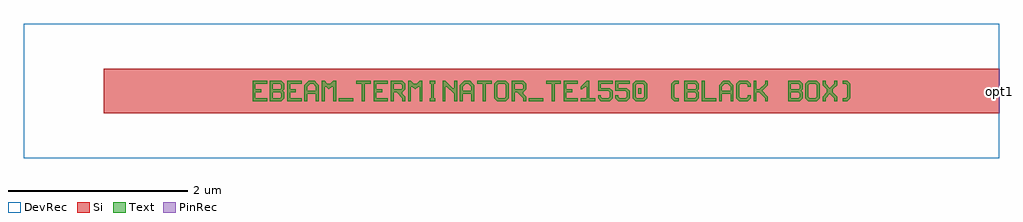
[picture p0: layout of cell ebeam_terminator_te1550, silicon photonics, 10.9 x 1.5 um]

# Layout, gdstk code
import gdstk
lib = gdstk.Library(unit=1e-6, precision=1e-09)
def R(c, l, rs):  # rectangles x0, y0, x1, y1
    for r in rs: c.add(gdstk.rectangle(r[:2], r[2:], *l))
def P(c, l, *ps):  # polygons
    for p in ps: c.add(gdstk.Polygon(p, *l))
Si = (1, 0)
PinRec = (1, 10)
Text = (10, 0)
DevRec = (68, 0)

text = lib.new_cell('TEXT')
R(text, Text, [(0.965,0,1.126,0.032), (3.088,0,3.249,0.032), (4.31,0.08,4.342,0.145)])
P(text, Text, [(0,0),(0,0.225),(0.161,0.225),(0.161,0.193),(0.032,0.193),(0.032,0.129),(0.096,0.129),(0.096,0.096),(0.032,0.096),(0.032,0.032),(0.161,0.032),(0.161,0)],
  [(0.193,0),(0.193,0.225),(0.322,0.225),(0.354,0.193),(0.225,0.193),(0.225,0.129),(0.306,0.129),(0.322,0.145),(0.322,0.177),(0.306,0.193),(0.354,0.193),(0.354,0.129),(0.338,0.113),(0.354,0.096),(0.225,0.096),(0.225,0.032),(0.306,0.032),(0.322,0.048),(0.322,0.08),(0.306,0.096),(0.354,0.096),(0.354,0.032),(0.322,0)],
  [(0.386,0),(0.386,0.225),(0.547,0.225),(0.547,0.193),(0.418,0.193),(0.418,0.129),(0.482,0.129),(0.482,0.096),(0.418,0.096),(0.418,0.032),(0.547,0.032),(0.547,0)],
  [(0.579,0),(0.579,0.177),(0.627,0.225),(0.692,0.225),(0.724,0.193),(0.643,0.193),(0.611,0.161),(0.611,0.113),(0.708,0.113),(0.708,0.161),(0.675,0.193),(0.724,0.193),(0.74,0.177),(0.74,0),(0.708,0),(0.708,0.08),(0.611,0.08),(0.611,0)],
  [(0.772,0),(0.772,0.225),(0.804,0.225),(0.836,0.193),(0.868,0.193),(0.901,0.225),(0.933,0.225),(0.933,0),(0.901,0),(0.901,0.161),(0.885,0.161),(0.852,0.129),(0.82,0.161),(0.804,0.161),(0.804,0)],
  [(1.222,0),(1.222,0.193),(1.158,0.193),(1.158,0.225),(1.319,0.225),(1.319,0.193),(1.254,0.193),(1.254,0)],
  [(1.351,0),(1.351,0.225),(1.512,0.225),(1.512,0.193),(1.383,0.193),(1.383,0.129),(1.447,0.129),(1.447,0.096),(1.383,0.096),(1.383,0.032),(1.512,0.032),(1.512,0)],
  [(1.544,0),(1.544,0.225),(1.673,0.225),(1.705,0.193),(1.576,0.193),(1.576,0.129),(1.657,0.129),(1.673,0.145),(1.673,0.177),(1.657,0.193),(1.705,0.193),(1.705,0.129),(1.673,0.096),(1.673,0.08),(1.705,0.048),(1.705,0),(1.673,0),(1.673,0.032),(1.608,0.096),(1.576,0.096),(1.576,0)],
  [(1.737,0),(1.737,0.225),(1.769,0.225),(1.801,0.193),(1.833,0.193),(1.866,0.225),(1.898,0.225),(1.898,0),(1.866,0),(1.866,0.161),(1.85,0.161),(1.817,0.129),(1.785,0.161),(1.769,0.161),(1.769,0)],
  [(1.978,0),(1.978,0.032),(1.994,0.032),(1.994,0.193),(1.978,0.193),(1.978,0.225),(2.043,0.225),(2.043,0.193),(2.026,0.193),(2.026,0.032),(2.043,0.032),(2.043,0)],
  [(2.123,0),(2.123,0.225),(2.155,0.225),(2.236,0.145),(2.252,0.145),(2.252,0.225),(2.284,0.225),(2.284,0),(2.252,0),(2.252,0.08),(2.171,0.161),(2.155,0.161),(2.155,0)],
  [(2.316,0),(2.316,0.177),(2.364,0.225),(2.429,0.225),(2.461,0.193),(2.38,0.193),(2.348,0.161),(2.348,0.113),(2.445,0.113),(2.445,0.161),(2.412,0.193),(2.461,0.193),(2.477,0.177),(2.477,0),(2.445,0),(2.445,0.08),(2.348,0.08),(2.348,0)],
  [(2.573,0),(2.573,0.193),(2.509,0.193),(2.509,0.225),(2.67,0.225),(2.67,0.193),(2.605,0.193),(2.605,0)],
  [(2.734,0),(2.702,0.032),(2.702,0.193),(2.734,0.225),(2.831,0.225),(2.863,0.193),(2.863,0.113),(2.831,0.113),(2.831,0.177),(2.815,0.193),(2.75,0.193),(2.734,0.177),(2.734,0.048),(2.75,0.032),(2.815,0.032),(2.831,0.048),(2.831,0.113),(2.863,0.113),(2.863,0.032),(2.831,0)],
  [(2.895,0),(2.895,0.225),(3.024,0.225),(3.056,0.193),(2.927,0.193),(2.927,0.129),(3.008,0.129),(3.024,0.145),(3.024,0.177),(3.008,0.193),(3.056,0.193),(3.056,0.129),(3.024,0.096),(3.024,0.08),(3.056,0.048),(3.056,0),(3.024,0),(3.024,0.032),(2.959,0.096),(2.927,0.096),(2.927,0)],
  [(3.345,0),(3.345,0.193),(3.281,0.193),(3.281,0.225),(3.442,0.225),(3.442,0.193),(3.377,0.193),(3.377,0)],
  [(3.474,0),(3.474,0.225),(3.635,0.225),(3.635,0.193),(3.506,0.193),(3.506,0.129),(3.57,0.129),(3.57,0.096),(3.506,0.096),(3.506,0.032),(3.635,0.032),(3.635,0)],
  [(3.667,0),(3.667,0.032),(3.731,0.032),(3.731,0.161),(3.715,0.161),(3.683,0.129),(3.667,0.129),(3.667,0.161),(3.731,0.225),(3.763,0.225),(3.763,0.032),(3.828,0.032),(3.828,0)],
  [(3.892,0),(3.86,0.032),(3.86,0.064),(3.892,0.064),(3.892,0.048),(3.908,0.032),(3.973,0.032),(3.989,0.048),(3.989,0.096),(3.973,0.113),(3.86,0.113),(3.86,0.225),(4.021,0.225),(4.021,0.193),(3.892,0.193),(3.892,0.145),(3.989,0.145),(4.021,0.113),(4.021,0.032),(3.989,0)],
  [(4.085,0),(4.053,0.032),(4.053,0.064),(4.085,0.064),(4.085,0.048),(4.101,0.032),(4.166,0.032),(4.182,0.048),(4.182,0.096),(4.166,0.113),(4.053,0.113),(4.053,0.225),(4.214,0.225),(4.214,0.193),(4.085,0.193),(4.085,0.145),(4.182,0.145),(4.214,0.113),(4.214,0.032),(4.182,0)],
  [(4.278,0),(4.246,0.032),(4.246,0.193),(4.278,0.225),(4.375,0.225),(4.407,0.193),(4.294,0.193),(4.278,0.177),(4.278,0.048),(4.294,0.032),(4.359,0.032),(4.375,0.048),(4.375,0.177),(4.359,0.193),(4.407,0.193),(4.407,0.032),(4.375,0)],
  [(4.712,0),(4.68,0.032),(4.68,0.193),(4.712,0.225),(4.761,0.225),(4.761,0.193),(4.728,0.193),(4.712,0.177),(4.712,0.048),(4.728,0.032),(4.761,0.032),(4.761,0)],
  [(4.825,0),(4.825,0.225),(4.954,0.225),(4.986,0.193),(4.857,0.193),(4.857,0.129),(4.938,0.129),(4.954,0.145),(4.954,0.177),(4.938,0.193),(4.986,0.193),(4.986,0.129),(4.97,0.113),(4.986,0.096),(4.857,0.096),(4.857,0.032),(4.938,0.032),(4.954,0.048),(4.954,0.08),(4.938,0.096),(4.986,0.096),(4.986,0.032),(4.954,0)],
  [(5.018,0),(5.018,0.225),(5.05,0.225),(5.05,0.032),(5.179,0.032),(5.179,0)],
  [(5.211,0),(5.211,0.177),(5.259,0.225),(5.324,0.225),(5.356,0.193),(5.275,0.193),(5.243,0.161),(5.243,0.113),(5.34,0.113),(5.34,0.161),(5.307,0.193),(5.356,0.193),(5.372,0.177),(5.372,0),(5.34,0),(5.34,0.08),(5.243,0.08),(5.243,0)],
  [(5.436,0),(5.404,0.032),(5.404,0.193),(5.436,0.225),(5.533,0.225),(5.565,0.193),(5.565,0.161),(5.533,0.161),(5.533,0.177),(5.517,0.193),(5.452,0.193),(5.436,0.177),(5.436,0.048),(5.452,0.032),(5.517,0.032),(5.533,0.048),(5.533,0.064),(5.565,0.064),(5.565,0.032),(5.533,0)],
  [(5.597,0),(5.597,0.225),(5.629,0.225),(5.629,0.129),(5.661,0.129),(5.726,0.193),(5.726,0.225),(5.758,0.225),(5.758,0.177),(5.693,0.113),(5.758,0.048),(5.758,0),(5.726,0),(5.726,0.032),(5.661,0.096),(5.629,0.096),(5.629,0)],
  [(5.983,0),(5.983,0.225),(6.112,0.225),(6.144,0.193),(6.015,0.193),(6.015,0.129),(6.096,0.129),(6.112,0.145),(6.112,0.177),(6.096,0.193),(6.144,0.193),(6.144,0.129),(6.128,0.113),(6.144,0.096),(6.015,0.096),(6.015,0.032),(6.096,0.032),(6.112,0.048),(6.112,0.08),(6.096,0.096),(6.144,0.096),(6.144,0.032),(6.112,0)],
  [(6.208,0),(6.176,0.032),(6.176,0.193),(6.208,0.225),(6.305,0.225),(6.337,0.193),(6.337,0.113),(6.305,0.113),(6.305,0.177),(6.289,0.193),(6.224,0.193),(6.208,0.177),(6.208,0.048),(6.224,0.032),(6.289,0.032),(6.305,0.048),(6.305,0.113),(6.337,0.113),(6.337,0.032),(6.305,0)],
  [(6.369,0),(6.369,0.048),(6.417,0.096),(6.417,0.129),(6.369,0.177),(6.369,0.225),(6.401,0.225),(6.401,0.193),(6.449,0.145),(6.498,0.193),(6.498,0.225),(6.53,0.225),(6.53,0.177),(6.482,0.129),(6.482,0.096),(6.53,0.048),(6.53,0),(6.498,0),(6.498,0.032),(6.449,0.08),(6.401,0.032),(6.401,0)],
  [(6.594,0),(6.594,0.032),(6.626,0.032),(6.642,0.048),(6.642,0.177),(6.626,0.193),(6.594,0.193),(6.594,0.225),(6.642,0.225),(6.675,0.193),(6.675,0.032),(6.642,0)])

ebeam_terminator_te1550 = lib.new_cell('ebeam_terminator_te1550')
R(ebeam_terminator_te1550, Si, [(-10.005,-0.25,0,0.25)])
R(ebeam_terminator_te1550, DevRec, [(-10.9,-0.75,0,0.75)])
ebeam_terminator_te1550.add(gdstk.FlexPath([(-0.005,0),(0.005,0)], 0.5, ends="flush", simple_path=True, layer=1, datatype=10))  # PinRec
ebeam_terminator_te1550.add(gdstk.Reference(text, (-8.34,-0.112)))
ebeam_terminator_te1550.add(gdstk.Label('opt1', (0,0), layer=1, texttype=10))

lib.write_gds('ebeam_terminator_te1550.gds')
